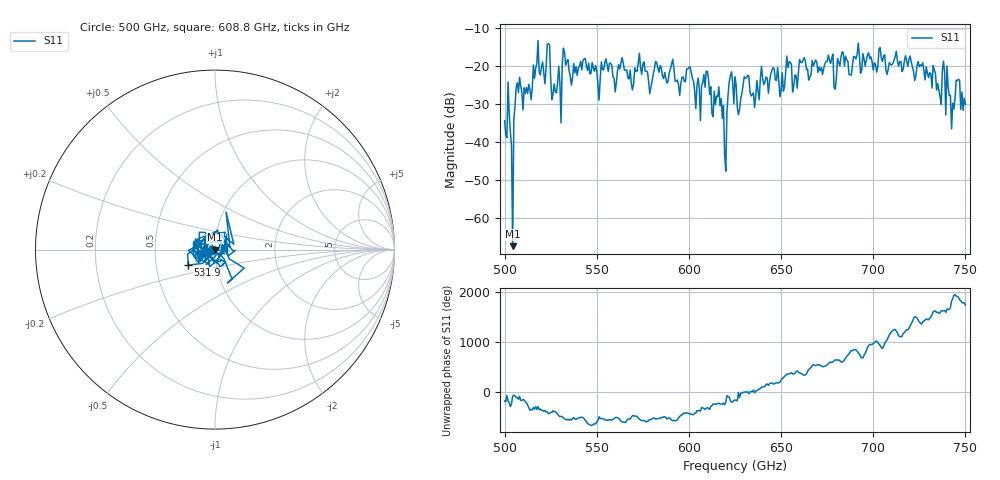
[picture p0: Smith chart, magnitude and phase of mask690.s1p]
!Created with skrf (http://scikit-rf.org).
# GHz S MA R 50.0
!freq magS11 angS11
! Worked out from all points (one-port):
!   401 points, 500 GHz to 750 GHz, reference 50 ohm
!   lowest |S11| = -67.3 dB at 504.4 GHz (marker M1), VSWR 1.00, Z = 50 - j0.0422 ohm
!   |S11| at or under -10 dB: start of sweep to end of sweep
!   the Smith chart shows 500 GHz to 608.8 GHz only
!   S11 on the Smith chart (normalised r, x): 500 GHz: 0.96, -0.00; 531.9 GHz: 0.73, -0.13; 608.8 GHz: 1.11, +0.03
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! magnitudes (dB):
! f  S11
! 500 GHz  -34.3
! 502.5 GHz  -32.5
! 504.4 GHz  -67.3
! 507.5 GHz  -26.9
! 513.8 GHz  -26.1
! 516.9 GHz  -20.5
! 523.8 GHz  -14.1
! 526.9 GHz  -24.7
! 531.2 GHz  -19.7
! 531.9 GHz  -15.2
! 562.5 GHz  -20.7
! 579.4 GHz  -25.5
! 590.6 GHz  -19.5
! 593.8 GHz  -23.6
! 600 GHz  -20.3
! 605 GHz  -23.1
! 608.8 GHz  -25.5
! 617.5 GHz  -28.5
! 619.4 GHz  -43.2
! 622.5 GHz  -22.5
! 625 GHz  -22.8
! 627.5 GHz  -31.2
! 631.2 GHz  -23.1
! 656.2 GHz  -26.8
! 687.5 GHz  -22.3
! 690.6 GHz  -18.1
! 718.8 GHz  -20.1
! 750 GHz  -30.0
